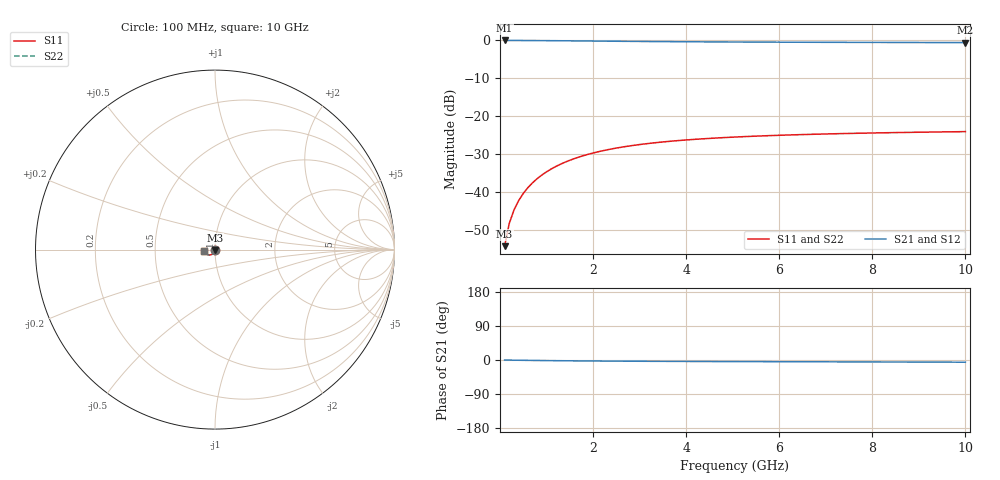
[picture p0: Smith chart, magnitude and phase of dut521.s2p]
! Touchstone file exported from HFSS 2024.1.0
!  File:  C:/UserFiles/LocalFiles/RDL_TSV_Batchsim/temp_TSV1_521_1779703571.aedt
!  Generated:  06:12:05 PM May 25, 2026
!  Design:  TSV1
!  Project:  temp_TSV1_521_1779703571
!  Setup:  Setup1
!  Solution:  Sweep
! Variables:
!  dtsv = 13.77um
!  hbump = 3um
!  htsv = 90.13um
!  lrdl = 252.1521522um
!  p = 40
!  p1 = 55.33um
!  t = 500um
!  trdl = 3um
!  wrdl = 24.89489489um
# GHz S MA R 50.000000
! Terminal data exported
! Port[1] = TSV22_T1
! Port[2] = TSV22_T2
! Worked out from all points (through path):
!   100 points, 100 MHz to 10 GHz, reference 50 ohm
!   highest |S21| = 0.00 dB at 100 MHz (marker M1); lowest = -0.6 dB at 10 GHz (marker M2)
!   lowest |S11| = -54.4 dB at 100 MHz (marker M3), VSWR 1.00, Z = 50 - j0.191 ohm
!   |S11| at or under -10 dB: start of sweep to end of sweep
!   |S22| runs from -54.4 to -24.1 dB; largest |S21 - S12| = 4.2e-15
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0.1  0.001909 -89.2  0.9998 -0.2  0.9998 -0.2  0.001909 -89.2
! Gamma 0 0 0 0
! Port Impedance 50 0 50 0
0.2  0.003816 -92.3  0.9996 -0.3  0.9996 -0.3  0.003816 -92.3
0.3  0.005718 -94.5  0.9993 -0.5  0.9993 -0.5  0.005718 -94.5
0.4  0.007609 -96.6  0.9989 -0.6  0.9989 -0.6  0.007609 -96.6
0.5  0.00948 -98.6  0.9983 -0.8  0.9983 -0.8  0.00948 -98.6
0.6  0.01132 -100.5  0.9976 -1.0  0.9976 -1.0  0.01132 -100.5
0.7  0.01314 -102.4  0.9969 -1.1  0.9969 -1.1  0.01314 -102.4
0.8  0.01491 -104.3  0.996 -1.2  0.996 -1.2  0.01491 -104.3
0.9  0.01664 -106.1  0.9951 -1.4  0.9951 -1.4  0.01664 -106.1
1.1  0.01998 -109.6  0.9931 -1.7  0.9931 -1.7  0.01998 -109.6
1.4  0.02462 -114.6  0.9896 -2.0  0.9896 -2.0  0.02462 -114.6
1.6  0.02746 -117.8  0.9872 -2.2  0.9872 -2.2  0.02746 -117.8
1.8  0.03009 -120.7  0.9847 -2.4  0.9847 -2.4  0.03009 -120.7
2.1  0.03367 -124.8  0.9809 -2.7  0.9809 -2.7  0.03367 -124.8
2.5  0.0378 -129.8  0.976 -3.0  0.976 -3.0  0.0378 -129.8
2.9  0.04129 -134.3  0.9715 -3.2  0.9715 -3.2  0.04129 -134.3
3.4  0.0449 -139.1  0.9664 -3.5  0.9664 -3.5  0.0449 -139.1
4.2  0.04937 -145.7  0.9596 -3.9  0.9596 -3.9  0.04937 -145.7
5.1  0.05305 -151.7  0.9536 -4.2  0.9536 -4.2  0.05305 -151.7
6.7  0.05745 -160.0  0.9461 -4.7  0.9461 -4.7  0.05745 -160.0
8.4  0.06042 -166.7  0.9409 -5.3  0.9409 -5.3  0.06042 -166.7
10  0.06236 -171.9  0.9376 -5.8  0.9376 -5.8  0.06236 -171.9
